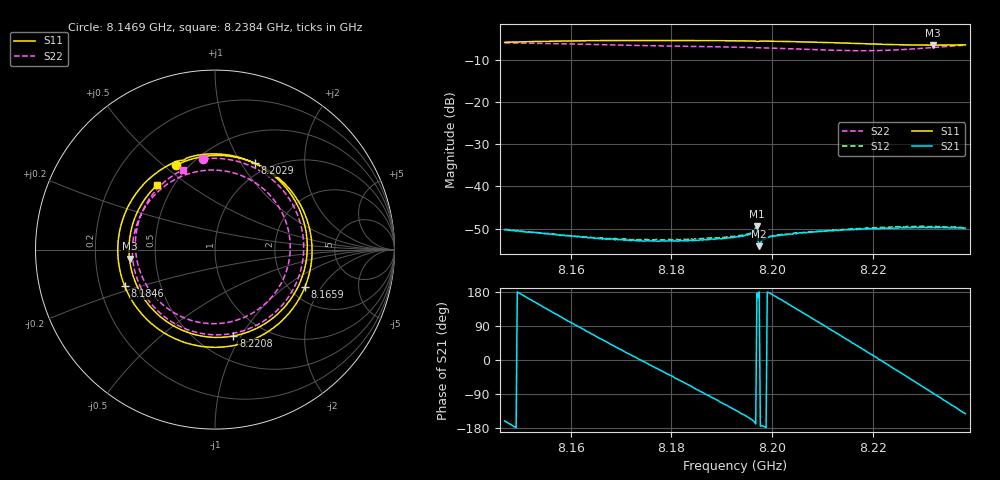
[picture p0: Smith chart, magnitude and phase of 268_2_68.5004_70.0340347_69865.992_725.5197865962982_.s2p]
#  HZ  S  RI  R  50.00
! Rohde & Schwarz Vector Network Analyzer
! Rohde-Schwarz,ZNB20-2Port,1311601062101988,3.16
! Created: UTC 3/20/2024, 5:00:38 PM
! freq[Hz]  re:S11  im:S11  re:S21  im:S21  re:S12  im:S12  re:S22  im:S22
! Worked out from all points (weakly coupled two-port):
!   401 points, 8.1469 GHz to 8.2384 GHz, reference 50 ohm
!   highest |S21| = -49.50 dB at 8.197 GHz (marker M1); lowest = -54.2 dB at 8.1974 GHz (marker M2)
!   lowest |S11| = -6.4 dB at 8.232 GHz (marker M3), VSWR 2.84, Z = 17.7 - j2.33 ohm
!   |S11| at or under -10 dB: nowhere
!   |S22| runs from -7.7 to -5.9 dB; largest |S21 - S12| = 0.00026
!   S11 on the Smith chart (normalised r, x): 8.1469 GHz: 0.43, +0.55; 8.1659 GHz: 2.41, -1.43; 8.1846 GHz: 0.31, -0.18; 8.2029 GHz: 0.86, +1.15; 8.2208 GHz: 0.73, -0.93; 8.2384 GHz: 0.41, +0.38
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8.146864e9  -0.2197 0.4692  -0.00289 -0.00101  -0.00291 -0.000954  -0.0641 0.5047
8.150524e9  0.021 0.5245  -0.00289 0.000472  -0.00288 0.000503  0.1689 0.4777
8.153955e9  0.2445 0.4711  -0.00227 0.00161  -0.00227 0.00164  0.3505 0.3612
8.158073e9  0.4507 0.2909  -0.00107 0.00241  -0.00103 0.00242  0.4771 0.1424
8.162191e9  0.5394 0.0324  0.000284 0.00248  0.000291 0.0025  0.4803 -0.1048
8.165851e9  0.5012 -0.2085  0.00132 0.00199  0.00135 0.00205  0.3837 -0.298
8.172027e9  0.2157 -0.4999  0.00221 0.000509  0.00225 0.000536  0.0774 -0.4703
8.177518e9  -0.1517 -0.5226  0.00201 -0.000964  0.00209 -0.000979  -0.2247 -0.4125
8.184609e9  -0.503 -0.2039  0.000608 -0.00221  0.000631 -0.00231  -0.451 -0.1003
8.188498e9  -0.5379 0.0626  -0.000472 -0.00229  -0.000564 -0.00237  -0.4438 0.1138
8.192616e9  -0.4296 0.3264  -0.00167 -0.00186  -0.00176 -0.00185  -0.3305 0.3103
8.196505e9  -0.2127 0.4913  -0.0029 -0.000828  -0.00297 -0.000744  -0.1465 0.4228
8.196962e9  -0.1804 0.4977  -0.00334 0.000218  -0.00339 0.000354  -0.1217 0.4297
8.19742e9  -0.1583 0.5094  -0.00195 5.71e-06  -0.00201 6e-05  -0.0966 0.4353
8.20291e9  0.222 0.4805  -0.00233 0.00135  -0.0023 0.00143  0.2056 0.3842
8.207943e9  0.4672 0.2303  -0.00099 0.00268  -0.000895 0.00276  0.3923 0.1627
8.213891e9  0.4737 -0.1834  0.00144 0.00268  0.00153 0.00268  0.3681 -0.189
8.220753e9  0.1022 -0.4814  0.00314 0.000358  0.00324 0.000202  0.0077 -0.4125
8.22327e9  -0.0791 -0.4809  0.00307 -0.000824  0.00315 -0.000999  -0.1584 -0.3856
8.227845e9  -0.3605 -0.3184  0.00193 -0.00259  0.00188 -0.00275  -0.3903 -0.1828
8.231963e9  -0.4764 -0.0508  0.000129 -0.00326  -5.29e-05 -0.00333  -0.4383 0.0971
8.238368e9  -0.3225 0.3597  -0.00251 -0.00198  -0.00267 -0.00183  -0.1774 0.4442
